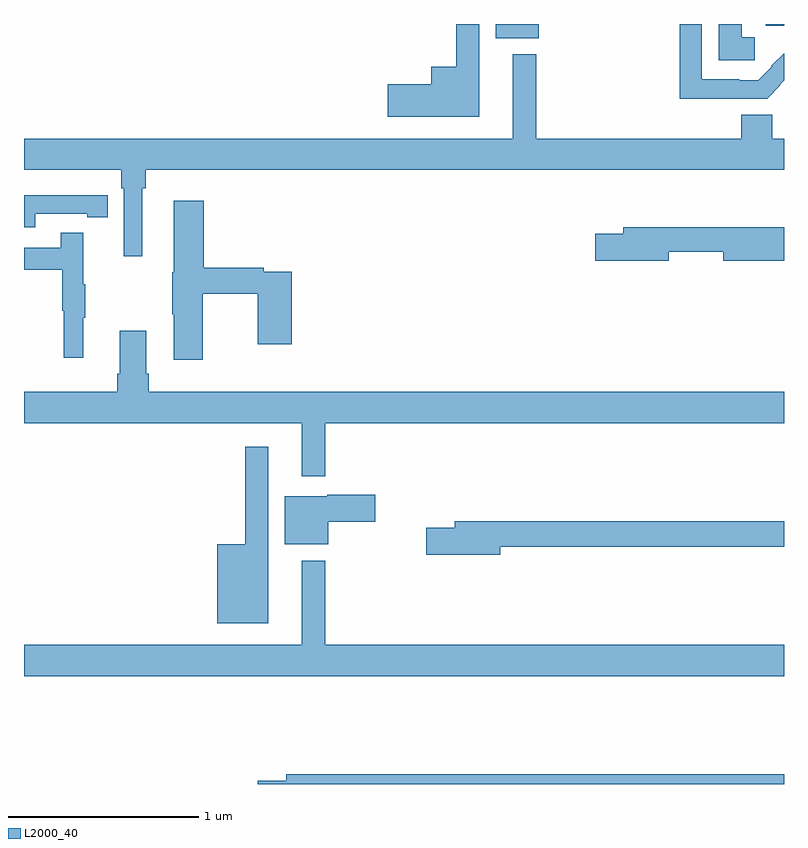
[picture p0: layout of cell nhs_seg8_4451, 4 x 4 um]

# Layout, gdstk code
import gdstk
lib = gdstk.Library(unit=1e-6, precision=1e-09)
def R(c, l, rs):  # rectangles x0, y0, x1, y1
    for r in rs: c.add(gdstk.rectangle(r[:2], r[2:], *l))
def P(c, l, *ps):  # polygons
    for p in ps: c.add(gdstk.Polygon(p, *l))
L2000_40 = (2000, 40)

nhs_seg8_4451 = lib.new_cell('nhs_seg8_4451')
R(nhs_seg8_4451, L2000_40, [(383.483,1151.825,383.71,1151.9), (384.905,1151.892,385,1151.9)])
P(nhs_seg8_4451, L2000_40, [(384.981,1151.577),(384.977,1151.581),(385,1151.604),(385,1151.746),(384.933,1151.679),(384.936,1151.676),(384.864,1151.604),(384.764,1151.604),(384.764,1151.608),(384.567,1151.608),(384.567,1151.9),(384.451,1151.9),(384.451,1151.507),(384.911,1151.507)],
  [(384.847,1151.83),(384.778,1151.83),(384.778,1151.9),(384.656,1151.9),(384.656,1151.71),(384.847,1151.71)],
  [(383.395,1151.9),(383.274,1151.9),(383.274,1151.674),(383.144,1151.674),(383.144,1151.582),(382.914,1151.582),(382.914,1151.411),(383.395,1151.411)],
  [(381.622,1151.036),(381.641,1151.036),(381.641,1151.132),(385,1151.132),(385,1151.296),(384.937,1151.296),(384.937,1151.422),(384.776,1151.422),(384.776,1151.296),(383.695,1151.296),(383.695,1151.74),(383.573,1151.74),(383.573,1151.296),(381,1151.296),(381,1151.132),(381.512,1151.132),(381.512,1151.036),(381.525,1151.036),(381.525,1150.677),(381.622,1150.677)],
  [(381.06,1150.902),(381.332,1150.902),(381.332,1150.882),(381.44,1150.882),(381.44,1150.998),(381.332,1150.998),(381.332,1150.999),(381,1150.999),(381,1150.83),(381.06,1150.83)],
  [(381.942,1150.48),(382.231,1150.48),(382.231,1150.215),(382.409,1150.215),(382.409,1150.596),(382.262,1150.596),(382.262,1150.616),(381.947,1150.616),(381.947,1150.969),(381.788,1150.969),(381.788,1150.593),(381.781,1150.593),(381.781,1150.372),(381.788,1150.372),(381.788,1150.134),(381.942,1150.134)],
  [(384.394,1150.702),(384.68,1150.702),(384.68,1150.655),(385,1150.655),(385,1150.831),(384.155,1150.831),(384.155,1150.797),(384.006,1150.797),(384.006,1150.655),(384.394,1150.655)],
  [(381.311,1150.355),(381.322,1150.355),(381.322,1150.529),(381.311,1150.529),(381.311,1150.801),(381.193,1150.801),(381.193,1150.722),(381,1150.722),(381,1150.606),(381.201,1150.606),(381.201,1150.392),(381.208,1150.392),(381.208,1150.143),(381.311,1150.143)],
  [(382.585,1149.8),(385,1149.8),(385,1149.964),(381.656,1149.964),(381.656,1150.06),(381.643,1150.06),(381.643,1150.285),(381.503,1150.285),(381.503,1150.06),(381.491,1150.06),(381.491,1149.964),(381,1149.964),(381,1149.8),(382.463,1149.8),(382.463,1149.519),(382.585,1149.519)],
  [(382.285,1149.676),(382.164,1149.676),(382.164,1149.163),(382.016,1149.163),(382.016,1148.747),(382.285,1148.747)],
  [(382.6,1149.281),(382.849,1149.281),(382.849,1149.423),(382.596,1149.423),(382.596,1149.415),(382.373,1149.415),(382.373,1149.161),(382.6,1149.161)],
  [(383.506,1149.148),(385,1149.148),(385,1149.284),(383.267,1149.284),(383.267,1149.248),(383.118,1149.248),(383.118,1149.106),(383.506,1149.106)],
  [(385,1148.632),(382.585,1148.632),(382.585,1149.076),(382.463,1149.076),(382.463,1148.632),(381,1148.632),(381,1148.468),(385,1148.468)],
  [(385,1147.952),(382.379,1147.952),(382.379,1147.916),(382.23,1147.916),(382.23,1147.9),(385,1147.9)])

lib.write_gds('nhs_seg8_4451.gds')
